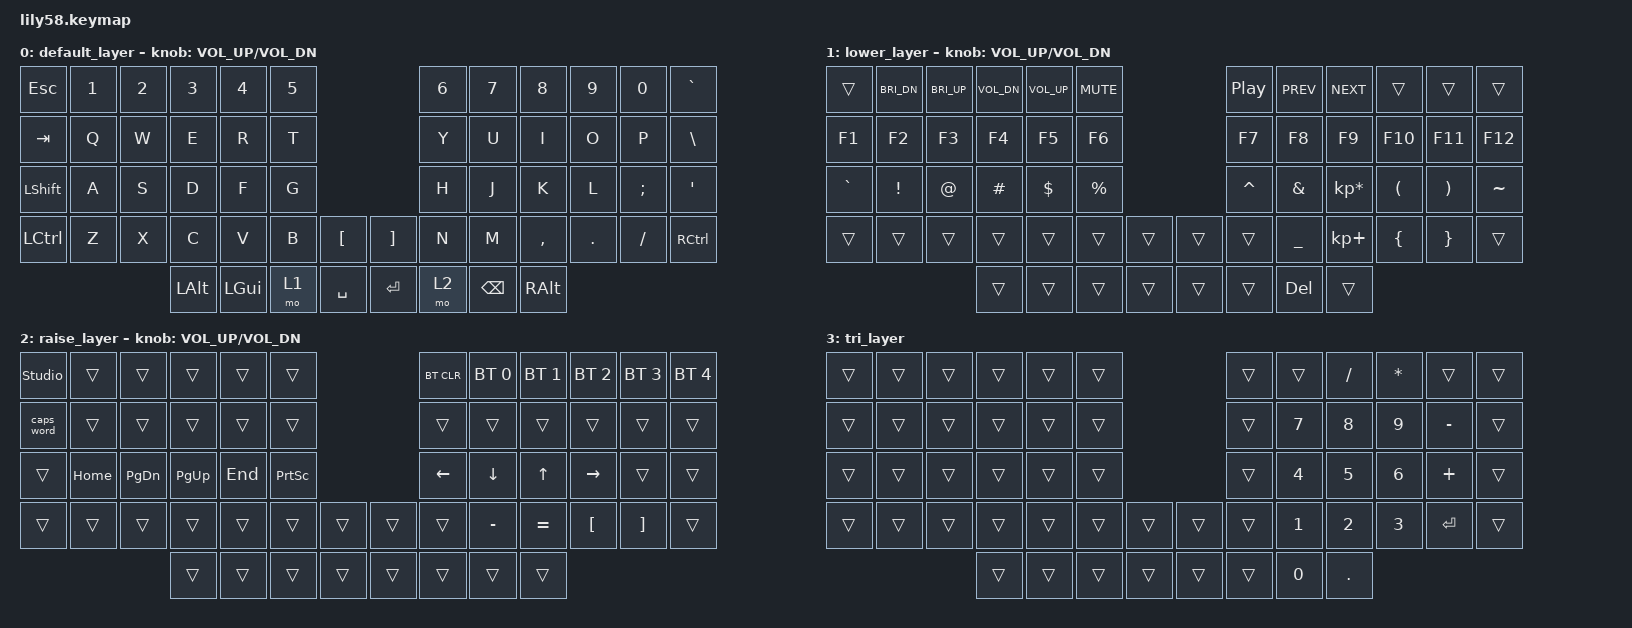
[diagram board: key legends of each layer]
/*
 * Copyright (c) 2020 The ZMK Contributors
 *
 * SPDX-License-Identifier: MIT
 */

#include <behaviors.dtsi>
#include <dt-bindings/zmk/bt.h>
#include <dt-bindings/zmk/keys.h>

&mt { flavor = "tap-preferred"; };

/ {
    keymap {
        compatible = "zmk,keymap";

        default_layer {
            // ------------------------------------------------------------------------------------------------------------
            // |  ESC  |  1  |  2  |  3   |  4   |  5   |                   |  6   |  7    |  8    |  9   |   0   |   `   |
            // |  TAB  |  Q  |  W  |  E   |  R   |  T   |                   |  Y   |  U    |  I    |  O   |   P   |   -   |
            // |  CTRL |  A  |  S  |  D   |  F   |  G   |                   |  H   |  J    |  K    |  L   |   ;   |   '   |
            // | SHIFT |  Z  |  X  |  C   |  V   |  B   |   "["  |  |  "]"  |  N   |  M    |  ,    |  .   |   /   | SHIFT |
            //                     | ALT  | GUI  | LOWER|  SPACE |  | ENTER | RAISE| BSPC  | GUI   |

            bindings = <
&kp ESC           &kp N1  &kp N2  &kp N3    &kp N4    &kp N5                         &kp N6  &kp N7    &kp N8         &kp N9   &kp N0    &kp GRAVE
&kp TAB           &kp Q   &kp W   &kp E     &kp R     &kp T                          &kp Y   &kp U     &kp I          &kp O    &kp P     &kp BACKSLASH
&kp LEFT_SHIFT    &kp A   &kp S   &kp D     &kp F     &kp G                          &kp H   &kp J     &kp K          &kp L    &kp SEMI  &kp SQT
&kp LEFT_CONTROL  &kp Z   &kp X   &kp C     &kp V     &kp B   &kp LBKT     &kp RBKT  &kp N   &kp M     &kp COMMA      &kp DOT  &kp FSLH  &kp RIGHT_CONTROL
                                  &kp LALT  &kp LGUI  &mo 1   &kp SPACE    &kp RET   &mo 2   &kp BSPC  &kp RIGHT_ALT
            >;

            sensor-bindings = <&inc_dec_kp C_VOL_UP C_VOL_DN>;
        };

        lower_layer {
            // --------------------------------------------------------------------------------------------------------------
            // | LPAD  | BRDn | BRUp |  MUT |  Vo- |  Vo+ |                   |      |       |       |      |       |       |
            // |  F1   |  F2  |  F3  |  F4  |  F5  |  F6  |                   |  F7  |  F8   |  F9   |  F10 |  F11  |  F12  |
            // |   `   |  !   |  @   |  #   |  $   |  %   |                   |  ^   |  &    |  *    |  (   |   )   |   ~   |
            // |       |      |      |      |      |      |        |  |       |      |  _    |  +    |  {   |   }   |  "|"  |
            //                       |      |      |      |        |  |       |      |       |       |

            bindings = <
&trans     &kp C_BRI_DN  &kp C_BRI_UP  &kp C_VOL_DN  &kp C_VOLUME_UP  &kp C_MUTE                    &kp C_PLAY_PAUSE  &kp C_PREV  &kp C_NEXT       &trans          &trans           &trans
&kp F1     &kp F2        &kp F3        &kp F4        &kp F5           &kp F6                        &kp F7            &kp F8      &kp F9           &kp F10         &kp F11          &kp F12
&kp GRAVE  &kp EXCL      &kp AT        &kp HASH      &kp DOLLAR       &kp PRCNT                     &kp CARET         &kp AMPS    &kp KP_MULTIPLY  &kp LPAR        &kp RPAR         &kp TILDE
&trans     &trans        &trans        &trans        &trans           &trans      &trans    &trans  &trans            &kp UNDER   &kp KP_PLUS      &kp LEFT_BRACE  &kp RIGHT_BRACE  &trans
                                       &trans        &trans           &trans      &trans    &trans  &trans            &kp DEL     &trans
            >;

            sensor-bindings = <&inc_dec_kp C_VOL_UP C_VOL_DN>;
        };

        raise_layer {
            // ------------------------------------------------------------------------------------------------------------
            // |       |     |     |      |      |      |                   |      |       |       |      |       |       |
            // |   `   |  1  |  2  |  3   |  4   |  5   |                   |  6   |   7   |   8   |  9   |   0   |       |
            // |   F1  |  F2 |  F3 |  F4  |  F5  |  F6  |                   |      |   <-  |   v   |  ^   |  ->   |       |
            // |   F7  |  F8 |  F9 |  F10 |  F11 |  F12 |        |  |       |  +   |   -   |   =   |  [   |   ]   |   \   |
            //                     |      |      |      |        |  |       |      |       |       |

            bindings = <
&studio_unlock  &trans    &trans         &trans       &trans   &trans                             &bt BT_CLR  &bt BT_SEL 0    &bt BT_SEL 1  &bt BT_SEL 2  &bt BT_SEL 3  &bt BT_SEL 4
&caps_word      &trans    &trans         &trans       &trans   &trans                             &trans      &trans          &trans        &trans        &trans        &trans
&trans          &kp HOME  &kp PAGE_DOWN  &kp PAGE_UP  &kp END  &kp PRINTSCREEN                    &kp LEFT    &kp DOWN_ARROW  &kp UP_ARROW  &kp RIGHT     &trans        &trans
&trans          &trans    &trans         &trans       &trans   &trans           &trans    &trans  &trans      &kp MINUS       &kp EQUAL     &kp LBKT      &kp RBKT      &trans
                                         &trans       &trans   &trans           &trans    &trans  &trans      &trans          &trans
            >;

            sensor-bindings = <&inc_dec_kp C_VOL_UP C_VOL_DN>;
        };

        tri_layer {
            bindings = <
&trans  &trans  &trans  &trans  &trans  &trans                    &trans  &trans  &kp FSLH  &kp ASTERISK  &trans     &trans
&trans  &trans  &trans  &trans  &trans  &trans                    &trans  &kp N7  &kp N8    &kp N9        &kp MINUS  &trans
&trans  &trans  &trans  &trans  &trans  &trans                    &trans  &kp N4  &kp N5    &kp N6        &kp PLUS   &trans
&trans  &trans  &trans  &trans  &trans  &trans  &trans    &trans  &trans  &kp N1  &kp N2    &kp N3        &kp ENTER  &trans
                        &trans  &trans  &trans  &trans    &trans  &trans  &kp N0  &kp DOT
            >;
        };
    };

    conditional_layers {
        compatible = "zmk,conditional-layers";

        num_layer {
            if-layers = <1 2>;
            then-layer = <3>;
        };
    };
};
